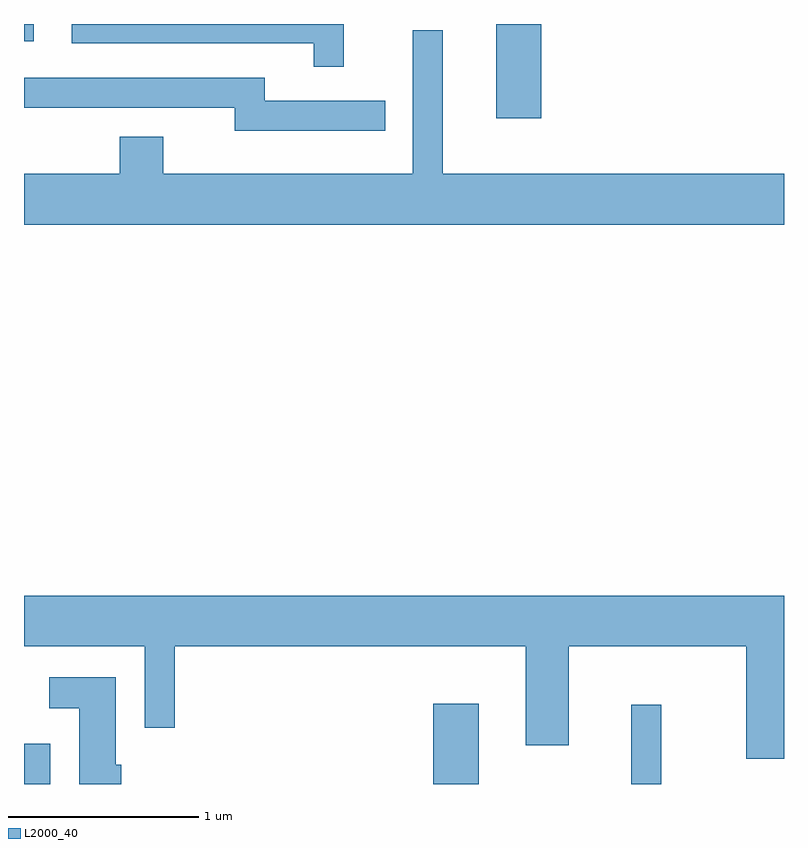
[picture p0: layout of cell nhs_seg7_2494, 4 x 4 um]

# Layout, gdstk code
import gdstk
lib = gdstk.Library(unit=1e-6, precision=1e-09)
def R(c, l, rs):  # rectangles x0, y0, x1, y1
    for r in rs: c.add(gdstk.rectangle(r[:2], r[2:], *l))
def P(c, l, *ps):  # polygons
    for p in ps: c.add(gdstk.Polygon(p, *l))
L2000_40 = (2000, 40)

nhs_seg7_2494 = lib.new_cell('nhs_seg7_2494')
R(nhs_seg7_2494, L2000_40, [(261.611,1720.252,261.749,1720.464), (263.766,1720.252,264.004,1720.674), (264.806,1720.252,264.964,1720.668), (264.096,1723.756,264.334,1724.252), (261.611,1724.161,261.663,1724.252)])
P(nhs_seg7_2494, L2000_40, [(263.294,1724.252),(261.863,1724.252),(261.863,1724.151),(263.136,1724.151),(263.136,1724.028),(263.294,1724.028)],
  [(265.611,1723.464),(263.814,1723.464),(263.814,1724.218),(263.656,1724.218),(263.656,1723.464),(262.344,1723.464),(262.344,1723.659),(262.116,1723.659),(262.116,1723.464),(261.611,1723.464),(261.611,1723.196),(265.611,1723.196)],
  [(263.513,1723.849),(262.879,1723.849),(262.879,1723.969),(261.611,1723.969),(261.611,1723.811),(262.721,1723.811),(262.721,1723.691),(263.513,1723.691)],
  [(265.611,1721.244),(261.611,1721.244),(261.611,1720.976),(262.246,1720.976),(262.246,1720.548),(262.404,1720.548),(262.404,1720.976),(264.251,1720.976),(264.251,1720.456),(264.479,1720.456),(264.479,1720.976),(265.411,1720.976),(265.411,1720.386),(265.611,1720.386)],
  [(262.124,1720.354),(262.094,1720.354),(262.094,1720.814),(261.743,1720.814),(261.743,1720.651),(261.901,1720.651),(261.901,1720.252),(262.124,1720.252)])

lib.write_gds('nhs_seg7_2494.gds')
